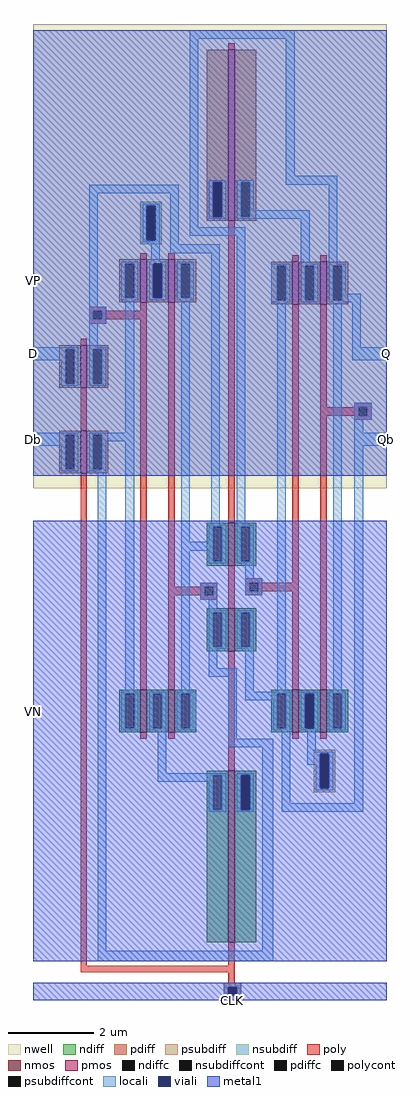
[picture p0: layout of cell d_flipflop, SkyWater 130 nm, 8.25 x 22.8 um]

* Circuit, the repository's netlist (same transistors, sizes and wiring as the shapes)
* NGSPICE file created from d_flipflop.ext - technology: sky130A

X0 a_n230_1560# a_n230_1160# VP VP sky130_fd_pr__pfet_01v8 ad=0.5 pd=3 as=0.25 ps=1.5 w=1 l=0.15
X1 a_n230_1560# a_n230_1160# a_50_n50# VN sky130_fd_pr__nfet_01v8 ad=0.5 pd=3 as=0.25 ps=1.5 w=1 l=0.15
X2 Qb CLK a_n230_1160# VN sky130_fd_pr__nfet_01v8 ad=0.5 pd=3 as=0.5 ps=3 w=1 l=0.15
X3 a_460_2340# CLK VP VP sky130_fd_pr__pfet_01v8 ad=2 pd=9 as=2 ps=9 w=4 l=0.15
X4 Q Qb a_460_2340# VP sky130_fd_pr__pfet_01v8 ad=0.5 pd=3 as=0.25 ps=1.5 w=1 l=0.15
X5 a_460_2340# Q Qb VP sky130_fd_pr__pfet_01v8 ad=0.25 pd=1.5 as=0.5 ps=3 w=1 l=0.15
X6 a_50_n50# a_n230_1560# a_n230_1160# VN sky130_fd_pr__nfet_01v8 ad=0.25 pd=1.5 as=0.5 ps=3 w=1 l=0.15
X7 a_n230_1560# CLK D VP sky130_fd_pr__pfet_01v8 ad=0.5 pd=3 as=0.5 ps=3 w=1 l=0.15
X8 Q Qb VN VN sky130_fd_pr__nfet_01v8 ad=0.5 pd=3 as=0.25 ps=1.5 w=1 l=0.15
X9 VN Q Qb VN sky130_fd_pr__nfet_01v8 ad=0.25 pd=1.5 as=0.5 ps=3 w=1 l=0.15
X10 VN CLK a_50_n50# VN sky130_fd_pr__nfet_01v8 ad=2 pd=9 as=2 ps=9 w=4 l=0.15
X11 VP a_n230_1560# a_n230_1160# VP sky130_fd_pr__pfet_01v8 ad=0.25 pd=1.5 as=0.5 ps=3 w=1 l=0.15
X12 Q CLK a_n230_1560# VN sky130_fd_pr__nfet_01v8 ad=0.5 pd=3 as=0.5 ps=3 w=1 l=0.15
X13 a_n230_1160# CLK Db VP sky130_fd_pr__pfet_01v8 ad=0.5 pd=3 as=0.5 ps=3 w=1 l=0.15

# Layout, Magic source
magic
tech sky130A
<< nwell >>
rect -240 545 585 1630
<< nmos >>
rect 215 365 230 465
rect 215 165 230 265
rect 10 -25 25 75
rect 75 -25 90 75
rect 365 -25 380 75
rect 430 -25 445 75
rect 215 -515 230 -115
<< pmos >>
rect 215 1170 230 1570
rect 10 980 25 1080
rect 75 980 90 1080
rect -130 780 -115 880
rect -130 580 -115 680
rect 365 975 380 1075
rect 430 975 445 1075
<< ndiff >>
rect 165 455 215 465
rect 165 375 180 455
rect 200 375 215 455
rect 165 365 215 375
rect 230 455 280 465
rect 230 375 245 455
rect 265 375 280 455
rect 230 365 280 375
rect 165 255 215 265
rect 165 175 180 255
rect 200 175 215 255
rect 165 165 215 175
rect 230 255 280 265
rect 230 175 245 255
rect 265 175 280 255
rect 230 165 280 175
rect -40 65 10 75
rect -40 -15 -25 65
rect -5 -15 10 65
rect -40 -25 10 -15
rect 25 65 75 75
rect 25 -15 40 65
rect 60 -15 75 65
rect 25 -25 75 -15
rect 90 65 140 75
rect 90 -15 105 65
rect 125 -15 140 65
rect 90 -25 140 -15
rect 315 65 365 75
rect 315 -15 330 65
rect 350 -15 365 65
rect 315 -25 365 -15
rect 380 65 430 75
rect 380 -15 395 65
rect 415 -15 430 65
rect 380 -25 430 -15
rect 445 65 495 75
rect 445 -15 460 65
rect 480 -15 495 65
rect 445 -25 495 -15
rect 165 -125 215 -115
rect 165 -205 180 -125
rect 200 -205 215 -125
rect 165 -515 215 -205
rect 230 -125 280 -115
rect 230 -205 245 -125
rect 265 -205 280 -125
rect 230 -515 280 -205
<< pdiff >>
rect 165 1260 215 1570
rect 165 1180 180 1260
rect 200 1180 215 1260
rect 165 1170 215 1180
rect 230 1260 280 1570
rect 230 1180 245 1260
rect 265 1180 280 1260
rect 230 1170 280 1180
rect -40 1070 10 1080
rect -40 990 -25 1070
rect -5 990 10 1070
rect -40 980 10 990
rect 25 1070 75 1080
rect 25 990 40 1070
rect 60 990 75 1070
rect 25 980 75 990
rect 90 1070 140 1080
rect 90 990 105 1070
rect 125 990 140 1070
rect 90 980 140 990
rect -180 870 -130 880
rect -180 790 -165 870
rect -145 790 -130 870
rect -180 780 -130 790
rect -115 870 -65 880
rect -115 790 -100 870
rect -80 790 -65 870
rect -115 780 -65 790
rect -180 670 -130 680
rect -180 590 -165 670
rect -145 590 -130 670
rect -180 580 -130 590
rect -115 670 -65 680
rect -115 590 -100 670
rect -80 590 -65 670
rect -115 580 -65 590
rect 315 1065 365 1075
rect 315 985 330 1065
rect 350 985 365 1065
rect 315 975 365 985
rect 380 1065 430 1075
rect 380 985 395 1065
rect 415 985 430 1065
rect 380 975 430 985
rect 445 1065 495 1075
rect 445 985 460 1065
rect 480 985 495 1065
rect 445 975 495 985
<< ndiffc >>
rect 180 375 200 455
rect 245 375 265 455
rect 180 175 200 255
rect 245 175 265 255
rect -25 -15 -5 65
rect 40 -15 60 65
rect 105 -15 125 65
rect 330 -15 350 65
rect 395 -15 415 65
rect 460 -15 480 65
rect 180 -205 200 -125
rect 245 -205 265 -125
<< pdiffc >>
rect 180 1180 200 1260
rect 245 1180 265 1260
rect -25 990 -5 1070
rect 40 990 60 1070
rect 105 990 125 1070
rect -165 790 -145 870
rect -100 790 -80 870
rect -165 590 -145 670
rect -100 590 -80 670
rect 330 985 350 1065
rect 395 985 415 1065
rect 460 985 480 1065
<< psubdiff >>
rect 415 -75 465 -65
rect 415 -155 430 -75
rect 450 -155 465 -75
rect 415 -165 465 -155
<< nsubdiff >>
rect 10 1205 60 1215
rect 10 1125 25 1205
rect 45 1125 60 1205
rect 10 1115 60 1125
<< psubdiffcont >>
rect 430 -155 450 -75
<< nsubdiffcont >>
rect 25 1125 45 1205
<< poly >>
rect 215 1570 230 1585
rect 10 1080 25 1095
rect 75 1080 90 1095
rect -110 960 -70 970
rect 10 960 25 980
rect -110 940 -100 960
rect -80 940 25 960
rect -110 930 -70 940
rect -130 880 -115 895
rect -130 680 -115 780
rect -130 -570 -115 580
rect 10 75 25 940
rect 75 315 90 980
rect 215 465 230 1170
rect 365 1075 380 1090
rect 430 1075 445 1090
rect 150 315 190 325
rect 75 295 160 315
rect 180 295 190 315
rect 75 75 90 295
rect 150 285 190 295
rect 215 265 230 365
rect 255 325 295 335
rect 365 325 380 975
rect 255 305 265 325
rect 285 305 380 325
rect 255 295 295 305
rect 10 -40 25 -25
rect 75 -40 90 -25
rect 215 -115 230 165
rect 365 75 380 305
rect 430 735 445 975
rect 510 735 550 745
rect 430 715 520 735
rect 540 715 550 735
rect 430 75 445 715
rect 510 705 550 715
rect 365 -40 380 -25
rect 430 -40 445 -25
rect 215 -570 230 -515
rect -130 -585 230 -570
rect 215 -610 230 -585
rect 205 -620 245 -610
rect 205 -640 215 -620
rect 235 -640 245 -620
rect 205 -650 245 -640
<< polycont >>
rect -100 940 -80 960
rect 160 295 180 315
rect 265 305 285 325
rect 520 715 540 735
rect 215 -640 235 -620
<< locali >>
rect 125 1595 370 1615
rect -110 1235 100 1255
rect -110 970 -90 1235
rect 15 1205 55 1210
rect 15 1125 25 1205
rect 45 1125 55 1205
rect 15 1120 55 1125
rect 35 1075 55 1120
rect 80 1115 100 1235
rect 125 1155 145 1595
rect 350 1275 370 1595
rect 170 1260 210 1265
rect 170 1180 180 1260
rect 200 1180 210 1260
rect 170 1175 210 1180
rect 235 1260 275 1265
rect 235 1180 245 1260
rect 265 1195 275 1260
rect 350 1255 470 1275
rect 265 1180 405 1195
rect 235 1175 405 1180
rect 125 1135 255 1155
rect 80 1095 195 1115
rect -35 1070 5 1075
rect -35 990 -25 1070
rect -5 990 5 1070
rect -35 985 5 990
rect 30 1070 70 1075
rect 30 990 40 1070
rect 60 990 70 1070
rect 30 985 70 990
rect 95 1070 135 1075
rect 95 990 105 1070
rect 125 990 135 1070
rect 95 985 135 990
rect -110 960 -70 970
rect -110 940 -100 960
rect -80 940 -70 960
rect -110 930 -70 940
rect -110 875 -90 930
rect -240 870 -135 875
rect -240 845 -165 870
rect -175 790 -165 845
rect -145 790 -135 870
rect -175 785 -135 790
rect -110 870 -70 875
rect -110 790 -100 870
rect -80 790 -70 870
rect -110 785 -70 790
rect -25 675 -5 985
rect -240 670 -135 675
rect -240 645 -165 670
rect -175 590 -165 645
rect -145 590 -135 670
rect -175 585 -135 590
rect -110 670 -5 675
rect -110 590 -100 670
rect -80 655 -5 670
rect -80 590 -70 655
rect -110 585 -70 590
rect -90 -535 -70 585
rect -25 70 -5 655
rect 105 420 125 985
rect 175 460 195 1095
rect 235 460 255 1135
rect 385 1070 405 1175
rect 450 1070 470 1255
rect 315 1065 360 1070
rect 315 985 330 1065
rect 350 985 360 1065
rect 315 980 360 985
rect 385 1065 425 1070
rect 385 985 395 1065
rect 415 985 425 1065
rect 385 980 425 985
rect 450 1065 490 1070
rect 450 985 460 1065
rect 480 1000 490 1065
rect 480 985 525 1000
rect 450 980 525 985
rect 170 455 210 460
rect 170 420 180 455
rect 105 400 180 420
rect 105 70 125 400
rect 170 375 180 400
rect 200 375 210 455
rect 170 370 210 375
rect 235 455 275 460
rect 235 375 245 455
rect 265 375 275 455
rect 235 370 275 375
rect 255 335 275 370
rect 255 325 295 335
rect 150 315 190 325
rect 150 295 160 315
rect 180 295 190 315
rect 255 305 265 325
rect 285 305 295 325
rect 255 295 295 305
rect 150 285 190 295
rect 170 260 190 285
rect 170 255 210 260
rect 170 175 180 255
rect 200 175 210 255
rect 170 170 210 175
rect 235 255 275 260
rect 235 175 245 255
rect 265 175 275 255
rect 235 170 275 175
rect 170 125 190 170
rect 170 105 235 125
rect -35 65 5 70
rect -35 -15 -25 65
rect -5 -15 5 65
rect -35 -20 5 -15
rect 30 65 70 70
rect 30 -15 40 65
rect 60 -15 70 65
rect 30 -20 70 -15
rect 95 65 140 70
rect 95 -15 105 65
rect 125 -15 140 65
rect 95 -20 140 -15
rect 50 -120 70 -20
rect 215 -40 235 105
rect 255 70 275 170
rect 330 70 350 980
rect 460 70 480 980
rect 505 875 525 980
rect 505 845 585 875
rect 510 735 550 745
rect 510 715 520 735
rect 540 715 550 735
rect 510 705 550 715
rect 510 675 530 705
rect 510 645 585 675
rect 255 65 360 70
rect 255 50 330 65
rect 320 -15 330 50
rect 350 -15 360 65
rect 320 -20 360 -15
rect 385 65 425 70
rect 385 -15 395 65
rect 415 -15 425 65
rect 385 -20 425 -15
rect 450 65 490 70
rect 450 -15 460 65
rect 480 -15 490 65
rect 450 -20 490 -15
rect 215 -60 320 -40
rect 50 -125 210 -120
rect 50 -140 180 -125
rect 170 -205 180 -140
rect 200 -205 210 -125
rect 170 -210 210 -205
rect 235 -125 275 -120
rect 235 -205 245 -125
rect 265 -205 275 -125
rect 235 -210 275 -205
rect 295 -535 320 -60
rect 340 -190 360 -20
rect 400 -70 420 -20
rect 400 -75 460 -70
rect 400 -100 430 -75
rect 420 -155 430 -100
rect 450 -155 460 -75
rect 420 -160 460 -155
rect 510 -190 530 645
rect 340 -210 530 -190
rect -90 -560 320 -535
rect 205 -620 245 -610
rect 205 -640 215 -620
rect 235 -640 245 -620
rect 205 -650 245 -640
<< viali >>
rect 25 1125 45 1205
rect 180 1180 200 1260
rect 40 990 60 1070
rect 395 -15 415 65
rect 245 -205 265 -125
rect 430 -155 450 -75
rect 215 -640 235 -620
<< metal1 >>
rect -240 1260 585 1615
rect -240 1205 180 1260
rect -240 1125 25 1205
rect 45 1180 180 1205
rect 200 1180 585 1260
rect 45 1125 585 1180
rect -240 1070 585 1125
rect -240 990 40 1070
rect 60 990 585 1070
rect -240 575 585 990
rect -240 65 585 470
rect -240 -15 395 65
rect 415 -15 585 65
rect -240 -75 585 -15
rect -240 -125 430 -75
rect -240 -205 245 -125
rect 265 -155 430 -125
rect 450 -155 585 -75
rect 265 -205 585 -155
rect -240 -560 585 -205
rect -240 -620 585 -610
rect -240 -640 215 -620
rect 235 -640 585 -620
rect -240 -650 585 -640
<< labels >>
rlabel locali -240 660 -240 660 7 Db
port 1 w
rlabel locali -240 860 -240 860 7 D
port 2 w
rlabel locali 585 860 585 860 3 Q
port 3 e
rlabel metal1 -240 1030 -240 1030 7 VP
port 5 w
rlabel metal1 -240 25 -240 25 7 VN
port 6 w
rlabel metal1 225 -650 225 -650 5 CLK
port 7 s
rlabel locali 585 660 585 660 3 Qb
port 4 e
<< end >>
